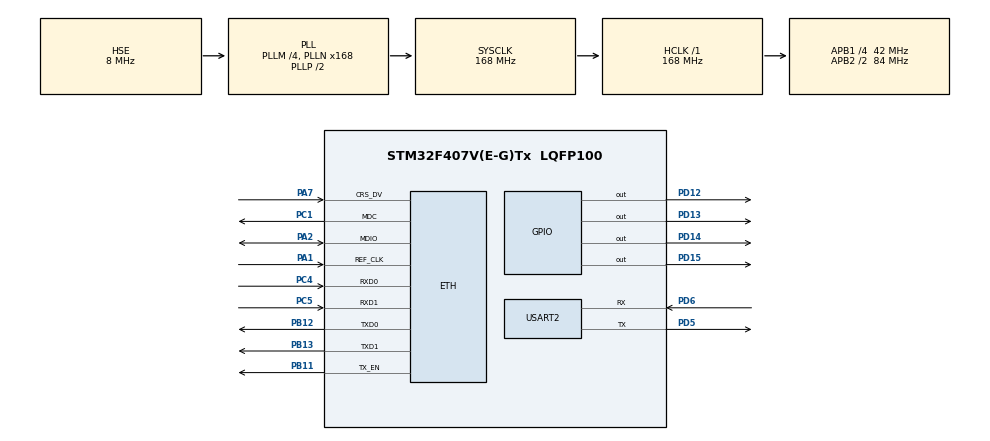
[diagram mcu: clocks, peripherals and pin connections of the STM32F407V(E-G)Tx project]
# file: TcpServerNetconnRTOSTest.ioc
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ETH.MediaInterface=HAL_ETH_RMII_MODE
FREERTOS.Tasks01=defaultTask,24,1024,StartDefaultTask,Default,NULL,Dynamic,NULL,NULL;myTask02,8,512,StartTask02,Default,NULL,Dynamic,NULL,NULL
FREERTOS.configCHECK_FOR_STACK_OVERFLOW=1
FREERTOS.configGENERATE_RUN_TIME_STATS=1
FREERTOS.configRECORD_STACK_HIGH_ADDRESS=1
FREERTOS.configUSE_NEWLIB_REENTRANT=1
LWIP.BSP.number=1
LWIP.GATEWAY_ADDRESS=010.073.132.254
LWIP.IP_ADDRESS=010.073.132.155
LWIP.LWIP_DHCP=0
LWIP.LWIP_SO_RCVBUF=0
LWIP.MEM_SIZE=10*1024
LWIP.NETMASK_ADDRESS=255.255.255.000
LWIP.Version=v2.1.2_Cube
LWIP0.BSP.STBoard=false
LWIP0.BSP.api=BSP_COMPONENT_DRIVER
LWIP0.BSP.component=DP83848
LWIP0.BSP.instance=DP83848
LWIP0.BSP.name=Driver_PHY
LWIP0.BSP.semaphore=S_DP83848
LWIP0.BSP.solution=DP83848
Mcu.Family=STM32F4
Mcu.Name=STM32F407V(E-G)Tx
Mcu.Package=LQFP100
NVIC.ETH_IRQn=true\:5\:0\:false\:false\:true\:true\:true\:true\:true
NVIC.PriorityGroup=NVIC_PRIORITYGROUP_4
NVIC.TIM6_DAC_IRQn=true\:15\:0\:false\:false\:true\:false\:false\:true\:true
NVIC.TimeBase=TIM6_DAC_IRQn
NVIC.TimeBaseIP=TIM6
NVIC.USART2_IRQn=true\:5\:0\:false\:false\:true\:true\:true\:true\:true
PA1.Mode=RMII
PA1.Signal=ETH_REF_CLK
PA2.Mode=RMII
PA2.Signal=ETH_MDIO
PA7.Mode=RMII
PA7.Signal=ETH_CRS_DV
PB11.Mode=RMII
PB11.Signal=ETH_TX_EN
PB12.Mode=RMII
PB12.Signal=ETH_TXD0
PB13.Mode=RMII
PB13.Signal=ETH_TXD1
PC1.Mode=RMII
PC1.Signal=ETH_MDC
PC4.Mode=RMII
PC4.Signal=ETH_RXD0
PC5.Mode=RMII
PC5.Signal=ETH_RXD1
PD12.Signal=GPIO_Output
PD13.Signal=GPIO_Output
PD14.Signal=GPIO_Output
PD15.Signal=GPIO_Output
PD5.Mode=Asynchronous
PD5.Signal=USART2_TX
PD6.Mode=Asynchronous
PD6.Signal=USART2_RX
PH0-OSC_IN.Mode=HSE-External-Oscillator
PH0-OSC_IN.Signal=RCC_OSC_IN
PH1-OSC_OUT.Mode=HSE-External-Oscillator
PH1-OSC_OUT.Signal=RCC_OSC_OUT
ProjectManager.HeapSize=0x200
ProjectManager.StackSize=0x400
ProjectManager.TargetToolchain=STM32CubeIDE
RCC.48MHZClocksFreq_Value=48000000
RCC.AHBFreq_Value=168000000
RCC.APB1CLKDivider=RCC_HCLK_DIV4
RCC.APB1Freq_Value=42000000
RCC.APB1TimFreq_Value=84000000
RCC.APB2CLKDivider=RCC_HCLK_DIV2
RCC.APB2Freq_Value=84000000
RCC.APB2TimFreq_Value=168000000
RCC.CortexFreq_Value=168000000
RCC.HCLKFreq_Value=168000000
RCC.HSE_VALUE=8000000
RCC.HSI_VALUE=16000000
RCC.LSE_VALUE=32768
RCC.PLLM=4
RCC.PLLN=168
RCC.PLLQ=7
RCC.PLLSourceVirtual=RCC_PLLSOURCE_HSE
RCC.SYSCLKFreq_VALUE=168000000
RCC.SYSCLKSource=RCC_SYSCLKSOURCE_PLLCLK
RCC.VCOOutputFreq_Value=336000000
USART2.VirtualMode=VM_ASYNC
VP_FREERTOS_VS_CMSIS_V2.Mode=CMSIS_V2
VP_LWIP_VS_Enabled.Mode=Enabled
VP_SYS_VS_tim6.Mode=TIM6
board=STM32F407G-DISC1

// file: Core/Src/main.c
/* USER CODE BEGIN Header */
/**
  ******************************************************************************
  * @file           : main.c
  * @brief          : Main program body
  ******************************************************************************
  * @attention
  *
  * Copyright (c) 2026 STMicroelectronics.
  * All rights reserved.
  *
  * This software is licensed under terms that can be found in the LICENSE file
  * in the root directory of this software component.
  * If no LICENSE file comes with this software, it is provided AS-IS.
  *
  ******************************************************************************
  */
/* USER CODE END Header */
#include "main.h"
#include "cmsis_os.h"
#include "lwip.h"
#include "usart.h"
#include "gpio.h"

void SystemClock_Config(void);
void MX_FREERTOS_Init(void);

int main(void)
{

  /* MCU Configuration--------------------------------------------------------*/

  /* Reset of all peripherals, Initializes the Flash interface and the Systick. */
  HAL_Init();

  /* Configure the system clock */
  SystemClock_Config();

  /* Initialize all configured peripherals */
  MX_GPIO_Init();
  MX_USART2_UART_Init();
  /* USER CODE BEGIN 2 */
  printf("\r\nStarting...\r\n");
  /* USER CODE END 2 */

  /* Init scheduler */
  osKernelInitialize();

  /* Call init function for freertos objects (in cmsis_os2.c) */
  MX_FREERTOS_Init();

  /* Start scheduler */
  osKernelStart();

  /* We should never get here as control is now taken by the scheduler */

  /* Infinite loop */
  while (1)
  {

  }
}

void SystemClock_Config(void)
{
  RCC_OscInitTypeDef RCC_OscInitStruct = {0};
  RCC_ClkInitTypeDef RCC_ClkInitStruct = {0};

  /** Configure the main internal regulator output voltage
  */
  __HAL_RCC_PWR_CLK_ENABLE();
  __HAL_PWR_VOLTAGESCALING_CONFIG(PWR_REGULATOR_VOLTAGE_SCALE1);

  /** Initializes the RCC Oscillators according to the specified parameters
  * in the RCC_OscInitTypeDef structure.
  */
  RCC_OscInitStruct.OscillatorType = RCC_OSCILLATORTYPE_HSE;
  RCC_OscInitStruct.HSEState = RCC_HSE_ON;
  RCC_OscInitStruct.PLL.PLLState = RCC_PLL_ON;
  RCC_OscInitStruct.PLL.PLLSource = RCC_PLLSOURCE_HSE;
  RCC_OscInitStruct.PLL.PLLM = 4;
  RCC_OscInitStruct.PLL.PLLN = 168;
  RCC_OscInitStruct.PLL.PLLP = RCC_PLLP_DIV2;
  RCC_OscInitStruct.PLL.PLLQ = 7;
  if (HAL_RCC_OscConfig(&RCC_OscInitStruct) != HAL_OK)
  {
    Error_Handler();
  }

  /** Initializes the CPU, AHB and APB buses clocks
  */
  RCC_ClkInitStruct.ClockType = RCC_CLOCKTYPE_HCLK|RCC_CLOCKTYPE_SYSCLK
                              |RCC_CLOCKTYPE_PCLK1|RCC_CLOCKTYPE_PCLK2;
  RCC_ClkInitStruct.SYSCLKSource = RCC_SYSCLKSOURCE_PLLCLK;
  RCC_ClkInitStruct.AHBCLKDivider = RCC_SYSCLK_DIV1;
  RCC_ClkInitStruct.APB1CLKDivider = RCC_HCLK_DIV4;
  RCC_ClkInitStruct.APB2CLKDivider = RCC_HCLK_DIV2;

  if (HAL_RCC_ClockConfig(&RCC_ClkInitStruct, FLASH_LATENCY_5) != HAL_OK)
  {
    Error_Handler();
  }
}

void HAL_TIM_PeriodElapsedCallback(TIM_HandleTypeDef *htim)
{
  if (htim->Instance == TIM6) {
    HAL_IncTick();
  }
}

void Error_Handler(void)
{
  __disable_irq();
  while (1)
  {
  }
}

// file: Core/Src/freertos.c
/* USER CODE BEGIN Header */
/**
  ******************************************************************************
  * File Name          : freertos.c
  * Description        : Code for freertos applications
  ******************************************************************************
  * @attention
  *
  * Copyright (c) 2026 STMicroelectronics.
  * All rights reserved.
  *
  * This software is licensed under terms that can be found in the LICENSE file
  * in the root directory of this software component.
  * If no LICENSE file comes with this software, it is provided AS-IS.
  *
  ******************************************************************************
  */
/* USER CODE END Header */

#include "FreeRTOS.h"
#include "task.h"
#include "main.h"
#include "cmsis_os.h"

/* USER CODE BEGIN Includes */
#include "stdio.h"
#include "tcpserver.h"
#include "lwip.h"
/* USER CODE END Includes */

/* USER CODE BEGIN PM */
void phy_check(void) {
    uint32_t phy_reg_value = 0;
    uint32_t target_reg = 0x02; // Thanh ghi PHY ID

    for (uint32_t addr = 0; addr < 32; addr++) {
        if (HAL_ETH_ReadPHYRegister(&heth, addr, target_reg, &phy_reg_value) == HAL_OK) {
            if (phy_reg_value != 0xFFFF && phy_reg_value != 0x0000) {
                printf("INFO: PHY found at Address: %ld (RegVal: 0x%lX)\r\n", addr, phy_reg_value);
                HAL_GPIO_WritePin(GPIOD, GPIO_PIN_12 | GPIO_PIN_13 | GPIO_PIN_14 | GPIO_PIN_15, GPIO_PIN_SET);
                 break;
            }
        }
    }
}
/* USER CODE END PM */

/* USER CODE BEGIN Variables */
int count = 0;
/* USER CODE END Variables */
/* Definitions for defaultTask */
osThreadId_t defaultTaskHandle;
const osThreadAttr_t defaultTask_attributes = {
  .name = "defaultTask",
  .stack_size = 1024 * 4,
  .priority = (osPriority_t) osPriorityNormal,
};
/* Definitions for myTask02 */
osThreadId_t myTask02Handle;
const osThreadAttr_t myTask02_attributes = {
  .name = "myTask02",
  .stack_size = 512 * 4,
  .priority = (osPriority_t) osPriorityLow,
};

void StartDefaultTask(void *argument);
void StartTask02(void *argument);

extern void MX_LWIP_Init(void);
void MX_FREERTOS_Init(void); /* (MISRA C 2004 rule 8.1) */

/* Hook prototypes */
void configureTimerForRunTimeStats(void);
unsigned long getRunTimeCounterValue(void);
void vApplicationStackOverflowHook(xTaskHandle xTask, signed char *pcTaskName);

/* USER CODE BEGIN 1 */
/* Functions needed when configGENERATE_RUN_TIME_STATS is on */
__weak void configureTimerForRunTimeStats(void)
{

}

__weak unsigned long getRunTimeCounterValue(void)
{
return 0;
}
/* USER CODE END 1 */

/* USER CODE BEGIN 4 */
void vApplicationStackOverflowHook(xTaskHandle xTask, signed char *pcTaskName)
{
   /* Run time stack overflow checking is performed if
   configCHECK_FOR_STACK_OVERFLOW is defined to 1 or 2. This hook function is
   called if a stack overflow is detected. */
	printf("ERROR: Stack ovf: %s\r\n", pcTaskName);
}
/* USER CODE END 4 */

void MX_FREERTOS_Init(void) {

  /* Create the thread(s) */
  /* creation of defaultTask */
  defaultTaskHandle = osThreadNew(StartDefaultTask, NULL, &defaultTask_attributes);

  /* creation of myTask02 */
  myTask02Handle = osThreadNew(StartTask02, NULL, &myTask02_attributes);

}

void StartDefaultTask(void *argument)
{
  /* init code for LWIP */
  MX_LWIP_Init();
  /* USER CODE BEGIN StartDefaultTask */
  phy_check();
  tcpserver_init();
  /* Infinite loop */
  for(;;)
  {
    osDelay(1);
  }
  /* USER CODE END StartDefaultTask */
}

void StartTask02(void *argument)
{
  /* USER CODE BEGIN StartTask02 */
  /* Infinite loop */
  for(;;)
  {
//	count++;
//	printf("Hello %d\r\n", count);
//	if(count > 100) count = 0;
	 HAL_GPIO_TogglePin(GPIOD, GPIO_PIN_15);
	 osDelay(500);
  }
  /* USER CODE END StartTask02 */
}
